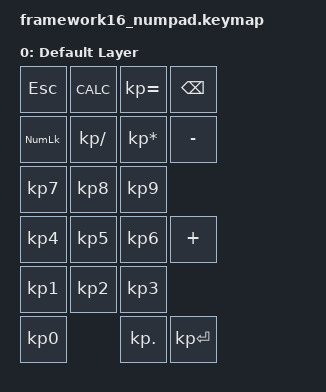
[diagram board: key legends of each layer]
/*
 * Copyright (c) 2025 The ZMK Contributors
 *
 * SPDX-License-Identifier: MIT
 */

#include "framework16.dtsi"

#include <behaviors.dtsi>
#include <dt-bindings/led/led.h>
#include <dt-bindings/zmk/backlight.h>
#include <dt-bindings/zmk/ext_power.h>
#include <dt-bindings/zmk/keys.h>
#include <dt-bindings/zmk/matrix_transform.h>
#include <dt-bindings/zmk/rgb.h>

/ {
    // chosen {
    //     zmk,physical-layout = &matrix_layout;
    // };
    keymap {
        compatible = "zmk,keymap";
        default_layer {
            display-name = "Default Layer";
            // ┌────┬────┬────┬────┐
            // │Esc │Calc│ =  │ <- │
            // ├────┼────┼────┼────┤
            // │Num │ /  │ *  │ -  │
            // ├────┼────┼────┼────┤
            // │ 7  │ 8  │ 9  │    │
            // ├────┼────┼────┤    │
            // │ 4  │ 5  │ 6  │ +  │
            // ├────┼────┼────┼────┤
            // │ 1  │ 2  │ 3  │    │
            // ├────┴────┼────┤    │
            // │ 0       │ .  │Entr│
            // └─────────┴────┴────┴
            bindings = <
                &kp ESC      &kp K_CALC   &kp KP_EQUAL    &kp BACKSPACE
                &kp KP_NUM   &kp KP_SLASH &kp KP_ASTERISK &kp MINUS
                &kp KP_N7    &kp KP_N8    &kp KP_N9
                &kp KP_N4    &kp KP_N5    &kp KP_N6       &kp PLUS
                &kp KP_N1    &kp KP_N2    &kp KP_N3
                &kp KP_N0                 &kp KP_DOT      &kp KP_ENTER
           >;
        };
    };
};
